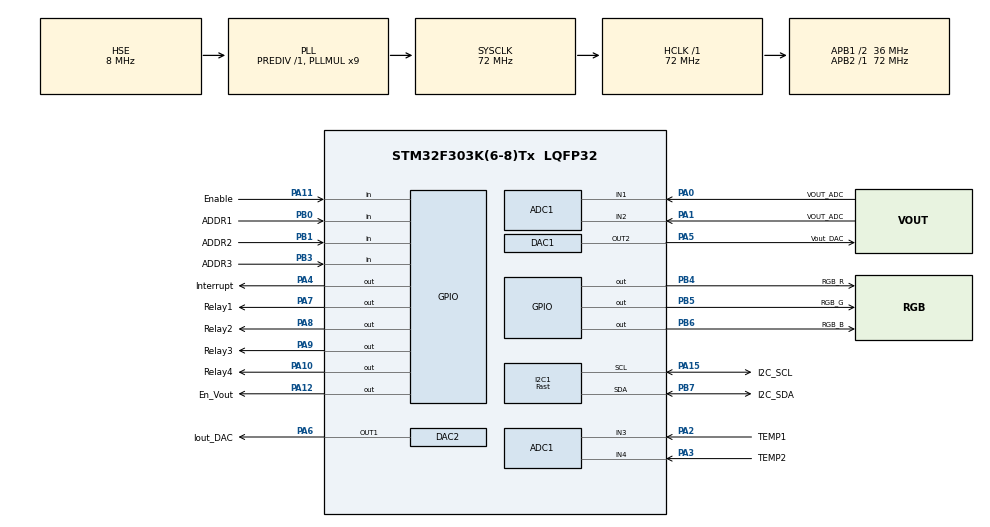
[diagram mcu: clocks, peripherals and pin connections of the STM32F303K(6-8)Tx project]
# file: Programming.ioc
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ADC1.Channel-0\#ChannelRegularConversion=ADC_CHANNEL_VREFINT
ADC1.NbrOfConversionFlag=1
ADC1.Offset-0\#ChannelRegularConversion=0
ADC1.OffsetNumber-0\#ChannelRegularConversion=ADC_OFFSET_NONE
ADC1.Rank-0\#ChannelRegularConversion=1
ADC1.SamplingTime-0\#ChannelRegularConversion=ADC_SAMPLETIME_1CYCLE_5
ADC1.SubFamily=STM32F303x8
ADC1.master=1
ADC2.Channel-0\#ChannelRegularConversion=ADC_CHANNEL_VREFINT
ADC2.NbrOfConversionFlag=1
ADC2.Offset-0\#ChannelRegularConversion=0
ADC2.OffsetNumber-0\#ChannelRegularConversion=ADC_OFFSET_NONE
ADC2.Rank-0\#ChannelRegularConversion=1
ADC2.SamplingTime-0\#ChannelRegularConversion=ADC_SAMPLETIME_1CYCLE_5
ADC2.SubFamily=STM32F303x8
I2C1.DualAddressMode=I2C_DUALADDRESS_ENABLE
I2C1.GeneralCallMode=I2C_GENERALCALL_DISABLE
I2C1.I2C_Speed_Mode=I2C_Fast
I2C1.NoStretchMode=I2C_NOSTRETCH_DISABLE
I2C1.OwnAddress=0x10
I2C1.Timing=0x0000020B
Mcu.Family=STM32F3
Mcu.Name=STM32F303K(6-8)Tx
Mcu.Package=LQFP32
NVIC.I2C1_ER_IRQn=true\:0\:0\:false\:false\:true\:true\:true
NVIC.I2C1_EV_IRQn=true\:0\:0\:false\:false\:true\:true\:true
NVIC.PriorityGroup=NVIC_PRIORITYGROUP_4
PA0.GPIO_Label=VOUT_ADC
PA0.Mode=IN1-Single-Ended
PA0.Signal=ADC1_IN1
PA1.GPIO_Label=VOUT_ADC
PA1.Mode=IN2-Single-Ended
PA1.Signal=ADC1_IN2
PA10.GPIO_Label=Relay4
PA10.Signal=GPIO_Output
PA11.GPIO_Label=Enable
PA11.Signal=GPIO_Input
PA12.GPIO_Label=En_Vout
PA12.Signal=GPIO_Output
PA13.Mode=Serial_Wire
PA13.Signal=SYS_JTMS-SWDIO
PA14.Mode=Serial_Wire
PA14.Signal=SYS_JTCK-SWCLK
PA15.GPIO_Label=I2C_SCL
PA15.Mode=I2C
PA15.Signal=I2C1_SCL
PA2.GPIO_Label=TEMP1
PA2.Mode=IN3-Single-Ended
PA2.Signal=ADC1_IN3
PA3.GPIO_Label=TEMP2
PA3.Mode=IN4-Single-Ended
PA3.Signal=ADC1_IN4
PA4.GPIO_Label=Interrupt
PA4.Signal=GPIO_Output
PA5.GPIO_Label=Vout_DAC
PA5.Signal=COMP_DAC12_group
PA6.GPIO_Label=Iout_DAC
PA6.Signal=COMP_DAC21_group
PA7.GPIO_Label=Relay1
PA7.Signal=GPIO_Output
PA8.GPIO_Label=Relay2
PA8.Signal=GPIO_Output
PA9.GPIO_Label=Relay3
PA9.Signal=GPIO_Output
PB0.GPIO_Label=ADDR1
PB0.Signal=GPIO_Input
PB1.GPIO_Label=ADDR2
PB1.Signal=GPIO_Input
PB3.GPIO_Label=ADDR3
PB3.Signal=GPIO_Input
PB4.GPIO_Label=RGB_R
PB4.Signal=GPIO_Output
PB5.GPIO_Label=RGB_G
PB5.Signal=GPIO_Output
PB6.GPIO_Label=RGB_B
PB6.Signal=GPIO_Output
PB7.GPIO_Label=I2C_SDA
PB7.Mode=I2C
PB7.Signal=I2C1_SDA
PF0\ /\ OSC_IN.Mode=HSE-External-Oscillator
PF0\ /\ OSC_IN.Signal=RCC_OSC_IN
PF1\ /\ OSC_OUT.Mode=HSE-External-Oscillator
PF1\ /\ OSC_OUT.Signal=RCC_OSC_OUT
ProjectManager.HeapSize=0x200
ProjectManager.StackSize=0x400
ProjectManager.TargetToolchain=Makefile
RCC.AHBFreq_Value=72000000
RCC.APB1CLKDivider=RCC_HCLK_DIV2
RCC.APB1Freq_Value=36000000
RCC.APB1TimFreq_Value=72000000
RCC.APB2Freq_Value=72000000
RCC.APB2TimFreq_Value=72000000
RCC.CortexFreq_Value=72000000
RCC.HCLKFreq_Value=72000000
RCC.HSE_VALUE=8000000
RCC.HSI_VALUE=8000000
RCC.PLLMUL=RCC_PLL_MUL9
RCC.PLLSourceVirtual=RCC_PLLSOURCE_HSE
RCC.SYSCLKFreq_VALUE=72000000
RCC.SYSCLKSourceVirtual=RCC_SYSCLKSOURCE_PLLCLK
SH.COMP_DAC12_group.0=DAC1_OUT2,DAC_OUT2
SH.COMP_DAC21_group.0=DAC2_OUT1,Switch_Enable_OUT1
VP_ADC1_TempSens_Input.Mode=IN-TempSens
VP_ADC1_Vref_Input.Mode=IN-Vrefint
VP_ADC2_Vref_Input.Mode=IN-Vrefint
board=custom

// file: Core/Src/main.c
/* USER CODE BEGIN Header */
/**
  ******************************************************************************
  * @file           : main.c
  * @brief          : Main program body
  ******************************************************************************
  * @attention
  *
  * <h2><center>&copy; Copyright (c) 2021 STMicroelectronics.
  * All rights reserved.</center></h2>
  *
  * This software component is licensed by ST under BSD 3-Clause license,
  * the "License"; You may not use this file except in compliance with the
  * License. You may obtain a copy of the License at:
  *                        opensource.org/licenses/BSD-3-Clause
  *
  ******************************************************************************
  */
/* USER CODE END Header */
#include "main.h"
#include "adc.h"
#include "dac.h"
#include "i2c.h"
#include "gpio.h"

/* USER CODE BEGIN PV */
uint8_t I2CAddress;
uint16_t SetVoltage, SetAmprage, CalibrationVolate, CalibrationAmprage;
uint16_t ReadVoltage, ReadAmprage;
uint8_t Enable = 0, ContolReg, Identify;

/* USER CODE END PV */

void SystemClock_Config(void);

/* USER CODE BEGIN 0 */

uint8_t Buff[10];
uint8_t DataBuff[14];
enum State
{
  GetReg,
  GettingData
};
enum State TransferState = GetReg;
uint8_t SelectedReg;

void HAL_I2C_AddrCallback(I2C_HandleTypeDef *hi2c, uint8_t direction, uint16_t addrMatchCode)
{
  switch (direction)
  {
  case I2C_DIRECTION_TRANSMIT:
    if (HAL_I2C_Slave_Seq_Receive_IT(hi2c, Buff, 1, I2C_FIRST_FRAME) != HAL_OK)
    {
      //	I2C_Error_Handler();
    }

    break;
  case I2C_DIRECTION_RECEIVE:
    DataBuff[0] = ContolReg;
    DataBuff[1] = Enable;
    DataBuff[2] = SetVoltage & 0xff;
    DataBuff[3] = (SetVoltage & 0xff00) >> 8;
    DataBuff[4] = SetAmprage & 0xff;
    DataBuff[5] = (SetAmprage & 0xff00) >> 8;
    DataBuff[6] = CalibrationVolate & 0xff;
    DataBuff[7] = (CalibrationVolate & 0xff00) >> 8;
    DataBuff[8] = CalibrationAmprage & 0xff;
    DataBuff[9] = (CalibrationAmprage & 0xff00) >> 8;
    DataBuff[10] = ReadVoltage & 0xff;
    DataBuff[11] = (ReadVoltage & 0xff00) >> 8;
    DataBuff[12] = ReadAmprage & 0xff;
    DataBuff[13] = (ReadAmprage & 0xff00) >> 8;
    if (HAL_I2C_Slave_Seq_Transmit_IT(hi2c, &DataBuff, 14, I2C_FIRST_AND_LAST_FRAME) != HAL_OK)
    {
      //I2C_Error_Handler();
    }
    break;
  default:
    //I2C_Error_Handler();
    break;
  }
}

void HAL_I2C_SlaveRxCpltCallback(I2C_HandleTypeDef *HI2C)
{
  //I2Chandler(HI2C);
  if (TransferState == GetReg)
  {
    switch (Buff[0])
    {
    case 0x01:
      HAL_I2C_Slave_Seq_Receive_IT(HI2C, Buff, 1, I2C_LAST_FRAME);
      SelectedReg = 0x01;
      break;
    case 0x02:
      HAL_I2C_Slave_Seq_Receive_IT(HI2C, Buff, 1, I2C_LAST_FRAME);
      SelectedReg = 0x02;
      break;
    case 0x10:
      HAL_I2C_Slave_Seq_Receive_IT(HI2C, Buff, 2, I2C_LAST_FRAME);
      SelectedReg = 0x10;
      break;
    case 0x11:
      HAL_I2C_Slave_Seq_Receive_IT(HI2C, Buff, 2, I2C_LAST_FRAME);
      SelectedReg = 0x11;
      break;
    case 0x12:
      HAL_I2C_Slave_Seq_Receive_IT(HI2C, Buff, 2, I2C_LAST_FRAME);
      SelectedReg = 0x12;
      break;
    case 0x13:
      HAL_I2C_Slave_Seq_Receive_IT(HI2C, Buff, 2, I2C_LAST_FRAME);
      SelectedReg = 0x13;
      break;
    default:
      HAL_I2C_ErrorCallback(HI2C);
      break;
    }
    TransferState = GettingData;
  }
  else
  {
    switch (SelectedReg)
    {
    case 0x01:
      if (Buff[0] < 250)
      {
        Enable = 0;
      }
      else
      {
        Enable = 1;
      }
      break;
    case 0x02:
      if (Buff[0] < 250)
      {
        Identify = 0;
      }
      else
      {
        Identify = 1;
      }
      break;
    case 0x10:
      SetVoltage = Buff[0] || (Buff[1] << 8);
      break;
    case 0x11:
      CalibrationVolate = Buff[0] || (Buff[1] << 8);
      break;
    case 0x12:
      SetAmprage = Buff[0] || (Buff[1] << 8);
      break;
    case 0x13:
      CalibrationAmprage = Buff[0] || (Buff[1] << 8);
      break;
    default:
      HAL_I2C_ErrorCallback(HI2C);
      break;
    }
    TransferState = GetReg;
  }
}

void HAL_I2C_ListenCpltCallback(I2C_HandleTypeDef *hi2c)
{
  HAL_I2C_EnableListen_IT(hi2c);
}

void HAL_I2C_ErrorCallback(I2C_HandleTypeDef *hi2c)
{
  if (HAL_I2C_GetError(hi2c) != HAL_I2C_ERROR_AF)
  {
    I2C_Error_Handler();
  }
}

void I2C_Error_Handler()
{
  //_error_handler();
}
/* USER CODE END 0 */

int main(void)
{

  /* MCU Configuration--------------------------------------------------------*/

  /* Reset of all peripherals, Initializes the Flash interface and the Systick. */
  HAL_Init();

  /* Configure the system clock */
  SystemClock_Config();

  /* Initialize all configured peripherals */
  MX_GPIO_Init();
  MX_ADC1_Init();
  MX_ADC2_Init();
  MX_DAC1_Init();
  MX_DAC2_Init();
  MX_I2C1_Init();
  /* USER CODE BEGIN 2 */
  //HAL_Delay(1000);
  //HAL_DAC_Start(&hdac1,DAC_CHANNEL_2);
  //HAL_DAC_SetValue(&hdac1,DAC_CHANNEL_2,DAC_ALIGN_12B_R,200);
  //HAL_DAC_Start(&hdac2,DAC_CHANNEL_1);
  HAL_DAC_SetValue(&hdac2,DAC_CHANNEL_1,DAC_ALIGN_12B_R,1000);
  //HAL_GPIO_WritePin(En_Vout_GPIO_Port,En_Vout_Pin,GPIO_PIN_SET);

  ReadVoltage = 2222;
  HAL_I2C_EnableListen_IT(&hi2c1);
  //HAL_I2C_Slave_Receive_IT(&hi2c1,Buff,1);

  //I2CStart(&hi2c1);
  uint8_t Read1, Read2;
  /* USER CODE END 2 */

  /* Infinite loop */
  while (1)
  {
    if (Enable == 1)
    {
      HAL_GPIO_WritePin(En_Vout_GPIO_Port, En_Vout_Pin, GPIO_PIN_SET);
    }
    else
    {
      HAL_GPIO_WritePin(En_Vout_GPIO_Port, En_Vout_Pin, GPIO_PIN_RESET);
    }
    if(SetVoltage < 2000){
    HAL_DAC_SetValue(&hdac1,DAC_CHANNEL_2,DAC_ALIGN_12B_R,SetVoltage);
    }
  }
}

void SystemClock_Config(void)
{
  RCC_OscInitTypeDef RCC_OscInitStruct = {0};
  RCC_ClkInitTypeDef RCC_ClkInitStruct = {0};
  RCC_PeriphCLKInitTypeDef PeriphClkInit = {0};

  /** Initializes the RCC Oscillators according to the specified parameters
  * in the RCC_OscInitTypeDef structure.
  */
  RCC_OscInitStruct.OscillatorType = RCC_OSCILLATORTYPE_HSI | RCC_OSCILLATORTYPE_HSE;
  RCC_OscInitStruct.HSEState = RCC_HSE_ON;
  RCC_OscInitStruct.HSEPredivValue = RCC_HSE_PREDIV_DIV1;
  RCC_OscInitStruct.HSIState = RCC_HSI_ON;
  RCC_OscInitStruct.HSICalibrationValue = RCC_HSICALIBRATION_DEFAULT;
  RCC_OscInitStruct.PLL.PLLState = RCC_PLL_ON;
  RCC_OscInitStruct.PLL.PLLSource = RCC_PLLSOURCE_HSE;
  RCC_OscInitStruct.PLL.PLLMUL = RCC_PLL_MUL9;
  if (HAL_RCC_OscConfig(&RCC_OscInitStruct) != HAL_OK)
  {
    Error_Handler();
  }
  /** Initializes the CPU, AHB and APB buses clocks
  */
  RCC_ClkInitStruct.ClockType = RCC_CLOCKTYPE_HCLK | RCC_CLOCKTYPE_SYSCLK | RCC_CLOCKTYPE_PCLK1 | RCC_CLOCKTYPE_PCLK2;
  RCC_ClkInitStruct.SYSCLKSource = RCC_SYSCLKSOURCE_PLLCLK;
  RCC_ClkInitStruct.AHBCLKDivider = RCC_SYSCLK_DIV1;
  RCC_ClkInitStruct.APB1CLKDivider = RCC_HCLK_DIV2;
  RCC_ClkInitStruct.APB2CLKDivider = RCC_HCLK_DIV1;

  if (HAL_RCC_ClockConfig(&RCC_ClkInitStruct, FLASH_LATENCY_2) != HAL_OK)
  {
    Error_Handler();
  }
  PeriphClkInit.PeriphClockSelection = RCC_PERIPHCLK_I2C1 | RCC_PERIPHCLK_ADC12;
  PeriphClkInit.Adc12ClockSelection = RCC_ADC12PLLCLK_DIV1;
  PeriphClkInit.I2c1ClockSelection = RCC_I2C1CLKSOURCE_HSI;
  if (HAL_RCCEx_PeriphCLKConfig(&PeriphClkInit) != HAL_OK)
  {
    Error_Handler();
  }
}

void Error_Handler(void)
{
  __disable_irq();
  while (1)
  {
  }
}

/************************ (C) COPYRIGHT STMicroelectronics *****END OF FILE****/
